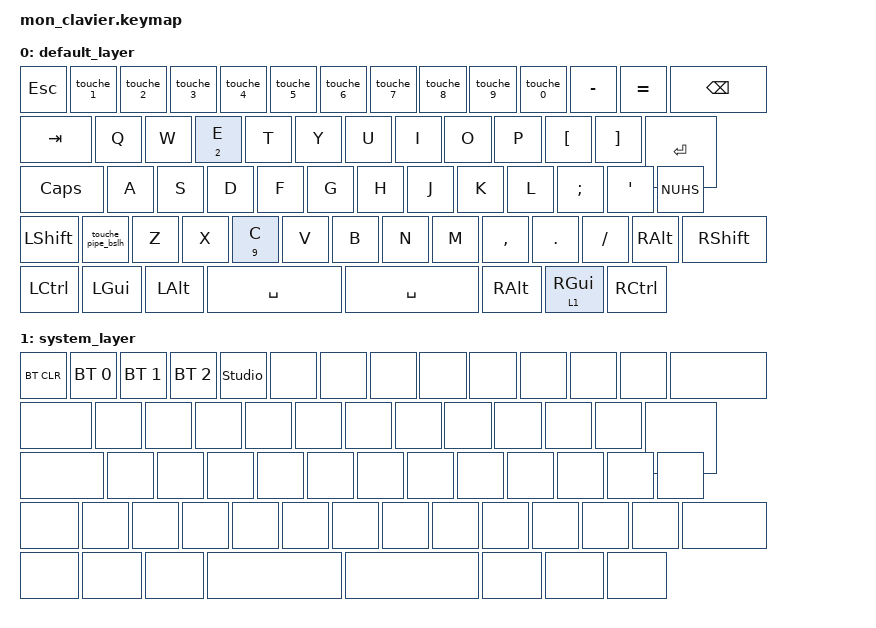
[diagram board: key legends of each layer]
#include <behaviors.dtsi>
#include <dt-bindings/zmk/keys.h>
#include <dt-bindings/zmk/bt.h>

/ {
    /* ========================================================================== */
    /* --- COMBOS : DÉCLENCHEMENT SIMULTANÉ DE TOUCHES -------------------------- */
    /* ========================================================================== */
    combos {
        compatible = "zmk,combos";
        
        combo_studio_unlock {
            timeout-ms = <100>; // Vous avez 100 millisecondes pour presser les 3 en même temps
            key-positions = <4 41 55>; // Touche 4 + LShift + LCtrl
            bindings = <&studio_unlock>;
        };
    };

    behaviors {
        /* ========================================================================== */
        /* --- MOD-MORPHS : COMPORTEMENT APPUYÉ / SHIFTÉ (Pour PC en AZERTY) ------- */
        /* ========================================================================== */
        
        // Touche 1 : Normal = 1 / Shift = ! 
        touche_1: touche_1 {
            compatible = "zmk,behavior-mod-morph";
            #binding-cells = <0>;
            bindings = <&kp KP_N1>, <&kp SLASH>;
            mods = <(MOD_LSFT|MOD_RSFT)>;
        };

        // Touche 2 : Normal = 2 / Shift = %
        touche_2: touche_2 {
            compatible = "zmk,behavior-mod-morph";
            #binding-cells = <0>;
            bindings = <&kp KP_N2>, <&kp LS(SQT)>;
            mods = <(MOD_LSFT|MOD_RSFT)>;
        };

        // Touche 3 : Normal = 3 / Shift = "
        touche_3: touche_3 {
            compatible = "zmk,behavior-mod-morph";
            #binding-cells = <0>;
            bindings = <&kp KP_N3>, <&kp N3>;
            mods = <(MOD_LSFT|MOD_RSFT)>;
        };

        // Touche 4 : Normal = 4 / Shift = '
        touche_4: touche_4 {
            compatible = "zmk,behavior-mod-morph";
            #binding-cells = <0>;
            bindings = <&kp KP_N4>, <&kp N4>;
            mods = <(MOD_LSFT|MOD_RSFT)>;
        };

        // Touche 5 : Normal = 5 / Shift = @
        touche_5: touche_5 {
            compatible = "zmk,behavior-mod-morph";
            #binding-cells = <0>;
            bindings = <&kp KP_N5>, <&kp RA(N0)>;
            mods = <(MOD_LSFT|MOD_RSFT)>;
        };

        // Touche 6 : Normal = 6 / Shift = - (Touche 6 standard de l'AZERTY)
        touche_6: touche_6 {
            compatible = "zmk,behavior-mod-morph";
            #binding-cells = <0>;
            bindings = <&kp KP_N6>, <&kp N6>;
            mods = <(MOD_LSFT|MOD_RSFT)>;
        };

        // Touche 7 : Normal = 7 / Shift = è (Touche 7 standard de l'AZERTY)
        touche_7: touche_7 {
            compatible = "zmk,behavior-mod-morph";
            #binding-cells = <0>;
            bindings = <&kp KP_N7>, <&kp N7>;
            mods = <(MOD_LSFT|MOD_RSFT)>;
        };

        // Touche 8 : Normal = 8 / Shift = _ (Touche 8 standard de l'AZERTY)
        touche_8: touche_8 {
            compatible = "zmk,behavior-mod-morph";
            #binding-cells = <0>;
            bindings = <&kp KP_N8>, <&kp N8>;
            mods = <(MOD_LSFT|MOD_RSFT)>;
        };

        // Touche 9 : Normal = 9 / Shift = ç (Touche 9 standard de l'AZERTY)
        touche_9: touche_9 {
            compatible = "zmk,behavior-mod-morph";
            #binding-cells = <0>;
            bindings = <&kp KP_N9>, <&kp N9>;
            mods = <(MOD_LSFT|MOD_RSFT)>;
        };

        // Touche 0 : Normal = 0 / Shift = à (Touche 0 standard de l'AZERTY)
        touche_0: touche_0 {
            compatible = "zmk,behavior-mod-morph";
            #binding-cells = <0>;
            bindings = <&kp KP_N0>, <&kp N0>;
            mods = <(MOD_LSFT|MOD_RSFT)>;
        };

        // Touche |\ : Normal = \ (AltGr + 8) / Shift = | (AltGr + 6)
        touche_pipe_bslh: touche_pipe_bslh {
            compatible = "zmk,behavior-mod-morph";
            #binding-cells = <0>;
            bindings = <&kp RA(N8)>, <&kp RA(N6)>;
            mods = <(MOD_LSFT|MOD_RSFT)>;
        };


        /* ========================================================================== */
        /* --- HOLD-TAP MODÈLES (Modèles génériques requis par ZMK) ----------------- */
        /* ========================================================================== */

        // Modèle pour associer deux touches classiques (Hold = Paramètre 1 / Tap = Paramètre 2)
        kp_ht: kp_hold_tap {
            compatible = "zmk,behavior-hold-tap";
            #binding-cells = <2>;
            flavor = "tap-preferred";
            tapping-term-ms = <200>;
            bindings = <&kp>, <&kp>; 
        };

        // Modèle pour associer un accès Calque et une touche (Hold = Calque / Tap = Touche)
        mo_ht: mo_hold_tap {
            compatible = "zmk,behavior-hold-tap";
            #binding-cells = <2>;
            flavor = "tap-preferred";
            tapping-term-ms = <200>;
            bindings = <&mo>, <&kp>; 
        };
    };

    keymap {
        compatible = "zmk,keymap";

        default_layer {
            bindings = <
                /* --- RANGÉE 0 (14 touches) --- */
                &kp ESC    &touche_1    &touche_2    &touche_3    &touche_4    &touche_5    &touche_6    &touche_7    &touche_8    &touche_9    &touche_0    &kp MINUS &kp EQUAL &kp BSPC
                /* --- RANGÉE 1 (14 touches) --- */
                &kp TAB    &kp Q        &kp W        &kp_ht N2 E  &kp R        &kp T        &kp Y        &kp U        &kp I        &kp O        &kp P        &kp LBKT  &kp RBKT  &kp RET
                /* --- RANGÉE 2 (13 touches) --- */
                &kp CLCK   &kp A        &kp S        &kp D        &kp F        &kp G        &kp H        &kp J        &kp K        &kp L        &kp SEMI     &kp SQT             &kp NUHS
                /* --- RANGÉE 3 (14 touches) --- */
                &kp LSHFT  &touche_pipe_bslh &kp Z   &kp X        &kp_ht N9 C  &kp V        &kp B        &kp N        &kp M        &kp COMMA    &kp DOT      &kp SLASH &kp RALT  &kp RSHFT
                /* --- RANGÉE 4 (8 touches) --- */
                &kp LCTRL  &kp LGUI     &kp LALT     &kp SPACE                                                                         &kp SPACE    &kp RALT     &mo_ht 1 RGUI &kp RCTRL
            >;
        };

        system_layer {
            bindings = <
                /* --- RANGÉE 0 --- */
                &bt BT_CLR &bt BT_SEL 0 &bt BT_SEL 1 &bt BT_SEL 2 &studio_unlock &none &none &none &none &none &none &none &none &none
                /* --- RANGÉE 1 --- */
                &none      &none        &none        &none        &none          &none &none &none &none &none &none &none &none &none
                /* --- RANGÉE 2 --- */
                &none      &none        &none        &none        &none          &none &none &none &none &none &none &none       &none
                /* --- RANGÉE 3 --- */
                &none      &none        &none        &none        &none          &none &none &none &none &none &none &none &none &none
                /* --- RANGÉE 4 --- */
                &none      &none        &none        &none                                                   &none &none &none &none
            >;
        };

        extra_layer_1 { status = "reserved"; };
        extra_layer_2 { status = "reserved"; };
    };
};
